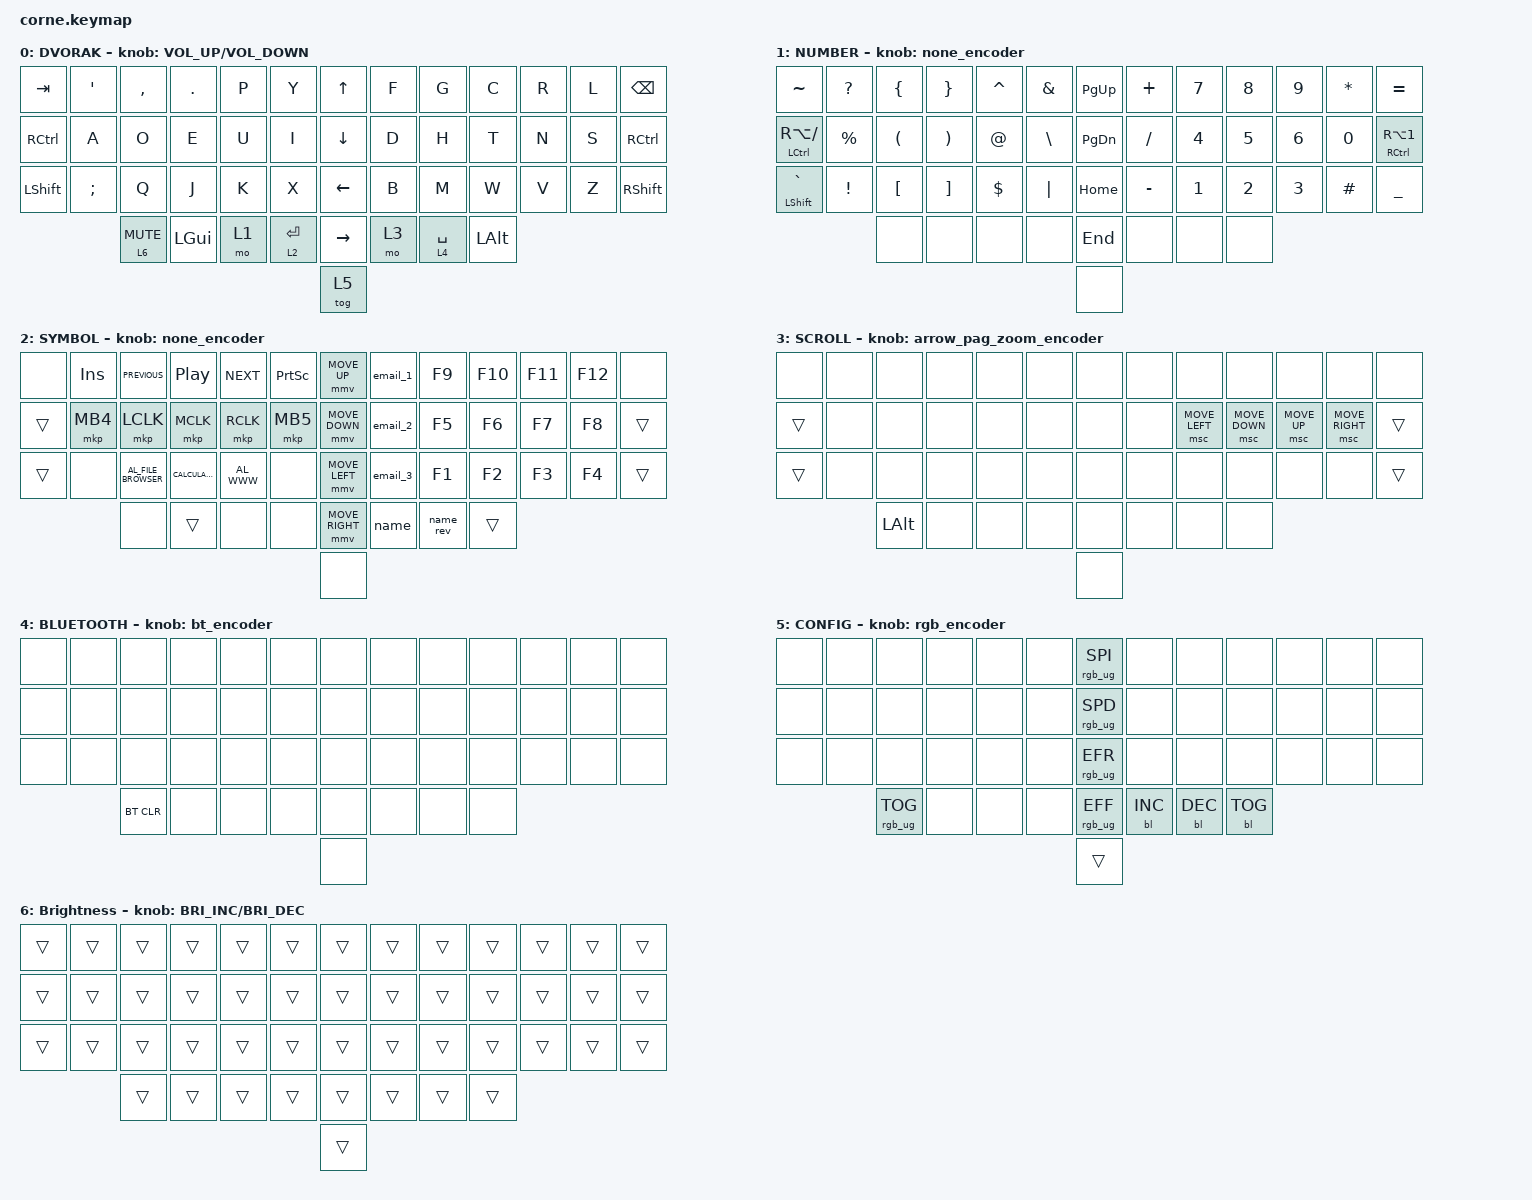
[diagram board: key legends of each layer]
#include <behaviors/mouse_keys.dtsi>
#include <behaviors.dtsi>
#include <dt-bindings/zmk/backlight.h>
#include <dt-bindings/zmk/bt.h>
#include <dt-bindings/zmk/keys.h>
#include <dt-bindings/zmk/mouse.h>
#include <dt-bindings/zmk/rgb.h>

#define ZMK_MOUSE_DEFAULT_MOVE_VAL 1200  // 600
#define ZMK_MOUSE_DEFAULT_SCRL_VAL 20    // 10
#define U_MS_U &mmv MOVE_UP
#define U_MS_D &mmv MOVE_DOWN
#define U_MS_L &mmv MOVE_LEFT
#define U_MS_R &mmv MOVE_RIGHT

/ {
    behaviors {
        td0: td0 {
            compatible = "zmk,behavior-tap-dance";
            label = "TD0";
            #binding-cells = <0>;
            bindings = <&kp LEFT_SHIFT>, <&kp CAPS>;
        };

        bt_encoder: bt_encoder {
            compatible = "zmk,behavior-sensor-rotate";
            label = "BT_ENCODER";
            #sensor-binding-cells = <0>;
            bindings = <&bt BT_NXT>, <&bt BT_PRV>;
        };

        none_encoder: none_encoder {
            compatible = "zmk,behavior-sensor-rotate";
            label = "NONE_ENCODER";
            #sensor-binding-cells = <0>;
            bindings = <&none>, <&none>;
        };

        arrow_pag_up: arrow_pag_up {
            compatible = "zmk,behavior-mod-morph";
            label = "ARROW_PAG_UP";
            bindings = <&kp UP_ARROW>, <&kp PAGE_UP>;

            #binding-cells = <0>;
            mods = <(MOD_LALT)>;
        };

        arrow_pag_down: arrow_pag_down {
            compatible = "zmk,behavior-mod-morph";
            label = "ARROW_PAG_DOWN";
            bindings = <&kp DOWN_ARROW>, <&kp PAGE_DOWN>;

            #binding-cells = <0>;
            mods = <(MOD_LALT)>;
        };

        arrow_pag_up_arrow_right: arrow_pag_up_arrow_right {
            compatible = "zmk,behavior-mod-morph";
            label = "ARROW_PAG_UP_ARROW_RIGHT";
            bindings = <&arrow_pag_up>, <&kp RIGHT_ARROW>;

            #binding-cells = <0>;
            mods = <(MOD_RSFT)>;
        };

        arrow_pag_down_arrow_left: arrow_pag_down_arrow_left {
            compatible = "zmk,behavior-mod-morph";
            label = "ARROW_PAG_DOWN_ARROW_LEFT";
            bindings = <&arrow_pag_down>, <&kp LEFT_ARROW>;

            #binding-cells = <0>;
            mods = <(MOD_RSFT)>;
        };

        arrow_pag_up_arrow_right_in: arrow_pag_up_arrow_right_in {
            compatible = "zmk,behavior-mod-morph";
            label = "ARROW_PAG_UP_ARROW_RIGHT_IN";
            bindings = <&arrow_pag_up_arrow_right>, <&kp RC(EQUAL)>;

            #binding-cells = <0>;
            mods = <(MOD_RCTL)>;
        };

        arrow_pag_down_arrow_left_out: arrow_pag_down_arrow_left_out {
            compatible = "zmk,behavior-mod-morph";
            label = "ARROW_PAG_DOWN_ARROW_LEFT_OUT";
            bindings = <&arrow_pag_down_arrow_left>, <&kp RC(MINUS)>;

            #binding-cells = <0>;
            mods = <(MOD_RCTL)>;
        };

        arrow_pag_zoom_encoder: arrow_pag_zoom_encoder {
            compatible = "zmk,behavior-sensor-rotate";
            label = "ARROW_PAG_ZOOM_ENCODER";
            #sensor-binding-cells = <0>;
            bindings =
                <&arrow_pag_up_arrow_right_in>,
                <&arrow_pag_down_arrow_left_out>;
        };

        mmv {
            acceleration-exponent = <1>;      // 1
            time-to-max-speed-ms = <900>;    // 40
            delay-ms = <0>;                   // 0
        };

        msc {
            acceleration-exponent = <1>;      // 0
            time-to-max-speed-ms = <400>;      // 500
            delay-ms = <0>;                   // 10
        };
    };

    rgb_encoder: rgb_encoder {
        compatible = "zmk,behavior-sensor-rotate";
        label = "RGB_ENCODER";
        #sensor-binding-cells = <0>;
        bindings = <&rgb_ug RGB_BRI>, <&rgb_ug RGB_BRD>;
    };

    scroll_encoder: scroll_encoder {
        compatible = "zmk,behavior-sensor-rotate";
        #sensor-binding-cells = <0>;
        bindings = <&msc SCRL_DOWN>, <&msc SCRL_UP>;

        tap-ms = <30>;
    };

    combos {
        compatible = "zmk,combos";

        Esc {
            bindings = <&kp ESCAPE>;
            key-positions = <22 23>;
        };

        Caps {
            bindings = <&kp CAPS>;
            key-positions = <35 36>;
            layers = <0>;
        };

        RAlt_1 {
            bindings = <&kp RIGHT_ALT>;
            key-positions = <34 35>;
        };

        RAlt_2 {
            bindings = <&kp RIGHT_ALT>;
            key-positions = <30 29>;
        };

        Del {
            bindings = <&kp DELETE>;
            key-positions = <10 9>;
            layers = <0>;
        };

        RGui {
            bindings = <&kp RIGHT_GUI>;
            key-positions = <21 22>;
        };

        Menu {
            bindings = <&kp C_MENU>;
            key-positions = <15 16>;
            layers = <0>;
        };

        Contex_menu {
            bindings = <&kp K_CONTEXT_MENU>;
            key-positions = <2 3>;
            layers = <0>;
        };

        LGui {
            bindings = <&kp LEFT_GUI>;
            key-positions = <17 16>;
        };

        Caps_word {
            bindings = <&caps_word>;
            key-positions = <28 29>;
            layers = <0>;
        };
    };

    macros {
        email_1: email_1 {
            compatible = "zmk,behavior-macro";
            #binding-cells = <0>;
            bindings = <&none &kp J &kp M &kp S &kp UNDER &kp A &kp L &kp E &kp J &kp A &kp N &kp D &kp R &kp O &kp AT &kp H &kp O &kp T &kp M &kp A &kp I &kp L &kp DOT &kp C &kp O &kp M>;
            label = "EMAIL_1";
        };

        email_2: email_2 {
            compatible = "zmk,behavior-macro";
            #binding-cells = <0>;
            bindings = <&none &kp E &kp L &kp M &kp I &kp N &kp E &kp C &kp R &kp A &kp F &kp T &kp I &kp A &kp N &kp O &kp N1 &kp N2 &kp AT &kp G &kp M &kp A &kp I &kp L &kp DOT &kp C &kp O &kp M>;
            label = "EMAIL_2";
        };

        email_3: email_3 {
            compatible = "zmk,behavior-macro";
            #binding-cells = <0>;
            bindings = <&none &kp N1 &kp N9 &kp N7 &kp O &kp N0 &kp N0 &kp N7 &kp N9 &kp N0 &kp AT &kp G &kp M &kp A &kp I &kp L &kp DOT &kp C &kp O &kp M>;
            label = "EMAIL_3";
        };

        name: name {
            compatible = "zmk,behavior-macro";
            #binding-cells = <0>;
            bindings = <&none &kp LS(J) &kp O &kp R &kp G &kp E &kp SPACE &kp LS(A) &kp L &kp E &kp J &kp A &kp N &kp D &kp R &kp O &kp SPACE &kp LS(M) &kp O &kp T &kp A &kp SPACE &kp LS(S) &kp O &kp S &kp A>;
            label = "NAME";
        };

        name_rev: name_rev {
            compatible = "zmk,behavior-macro";
            #binding-cells = <0>;
            bindings = <&none &kp LS(M) &kp O &kp T &kp A &kp SPACE &kp LS(S) &kp O &kp S &kp A &kp SPACE &kp LS(J) &kp O &kp R &kp G &kp E &kp SPACE &kp LS(A) &kp L &kp E &kp J &kp A &kp N &kp D &kp R &kp O>;
            label = "NAME_REV";
        };
    };

    keymap {
        compatible = "zmk,keymap";

        Default {
            display-name = "DVORAK";

            // --------------------------------------------------------------------------------
            // |  TAB |  Q  |  W  |  E  |  R  |  T  |                ↑    |  Y  |  U   |  I  |  O  |  P  | BKSP |      &kp UP_ARROW 
            // | SHIFT |  A  |  S  |  D  |  F  |  G  |               ↓    |  H  |  J   |  K  |  L  |  ;  |  '   | 
            // | CTRL |  Z  |  X  |  C  |  V  |  B  |                ←    |  N  |  M   |  ,  |  .  |  /  | ESC  |
            //                    | GUI | LWR | SPC |                →    | ENT | RSE  | ALT |
            //                                                      enter

            bindings = <
&kp TAB         &kp SQT        &kp COMMA     &kp PERIOD  &kp P  &kp Y          &kp UP_ARROW     &kp F  &kp G        &kp C         &kp R  &kp L  &kp BSPC
&kp RCTRL       &kp A          &kp O         &kp E       &kp U  &kp I          &kp DOWN_ARROW   &kp D  &kp H        &kp T         &kp N  &kp S  &kp RCTRL
&kp LEFT_SHIFT  &kp SEMICOLON  &kp Q         &kp J       &kp K  &kp X          &kp LEFT_ARROW   &kp B  &kp M        &kp W         &kp V  &kp Z  &kp RIGHT_SHIFT
                               &lt 6 C_MUTE  &kp LGUI    &mo 1  &lt 2 ENTER    &kp RIGHT_ARROW  &mo 3  &lt 4 SPACE  &kp LEFT_ALT
                                                                               &tog 5
            >;

            label = "DVORAK";
            sensor-bindings = <&inc_dec_kp C_VOLUME_UP C_VOLUME_DOWN>;
        };

        Numbers_and_symbols {
            display-name = "NUMBER";

            // -----------------------------------------------------------------------------------------
            // |  TAB |  1  |  2  |  3  |  4  |  5  |   |  6  |  7  |  8  |  9  |  0  | BKSP |
            // | BTCLR| BT1 | BT2 | BT3 | BT4 | BT5 |   | LFT | DWN |  UP | RGT |     |      |
            // | SHFT |     |     |     |     |     |   |     |     |     |     |     |      |
            //                    | GUI |     | SPC |   | ENT |     | ALT |

            bindings = <
&kp TILDE             &kp QUESTION  &kp LEFT_BRACE        &kp RIGHT_BRACE        &kp CARET    &kp AMPERSAND    &kp PAGE_UP    &kp PLUS   &kp N7        &kp N8        &kp N9        &kp ASTERISK  &kp EQUAL
&mt LCTRL RA(SLASH)   &kp PERCENT   &kp LEFT_PARENTHESIS  &kp RIGHT_PARENTHESIS  &kp AT_SIGN  &kp BACKSLASH    &kp PAGE_DOWN  &kp SLASH  &kp NUMBER_4  &kp N5        &kp NUMBER_6  &kp N0        &mt RCTRL RA(NUMBER_1)
&mt LEFT_SHIFT GRAVE  &kp EXCL      &kp LEFT_BRACKET      &kp RIGHT_BRACKET      &kp DOLLAR   &kp PIPE         &kp HOME       &kp MINUS  &kp NUMBER_1  &kp NUMBER_2  &kp NUMBER_3  &kp HASH      &kp UNDERSCORE
                                    &none                 &none                  &none        &none            &kp END        &none      &none         &none
                                                                                                               &none
            >;

            label = "NUMERIC";
            sensor-bindings = <&none_encoder>;
        };

        Functions {
            display-name = "SYMBOL";

            // -----------------------------------------------------------------------------------------
            // |  TAB |  !  |  @  |  #  |  $  |  %  |   |  ^  |  &  |  *  |  (  |  )  | BKSP |
            // | CTRL |     |     |     |     |     |   |  -  |  =  |  [  |  ]  |  \  |  `   |
            // | SHFT |     |     |     |     |     |   |  _  |  +  |  {  |  }  | "|" |  ~   |
            //                    | GUI |     | SPC |   | ENT |     | ALT |

            bindings = <
&none   &kp INSERT  &kp C_PREVIOUS         &kp C_PLAY_PAUSE  &kp C_NEXT    &kp PRINTSCREEN    &mmv MOVE_UP     &email_1  &kp F9     &kp F10  &kp F11  &kp F12  &none
&trans  &mkp MB4    &mkp LCLK              &mkp MCLK         &mkp RCLK     &mkp MB5           &mmv MOVE_DOWN   &email_2  &kp F5     &kp F6   &kp F7   &kp F8   &trans
&trans  &none       &kp C_AL_FILE_BROWSER  &kp K_CALCULATOR  &kp C_AL_WWW  &none              &mmv MOVE_LEFT   &email_3  &kp F1     &kp F2   &kp F3   &kp F4   &trans
                    &none                  &trans            &none         &none              &mmv MOVE_RIGHT  &name     &name_rev  &trans
                                                                                              &none
            >;

            label = "FN";
            sensor-bindings = <&none_encoder>;
        };

        Scroll {
            bindings = <
&none   &none  &none         &none  &none  &none    &none  &none  &none           &none           &none         &none            &none
&trans  &none  &none         &none  &none  &none    &none  &none  &msc MOVE_LEFT  &msc MOVE_DOWN  &msc MOVE_UP  &msc MOVE_RIGHT  &trans
&trans  &none  &none         &none  &none  &none    &none  &none  &none           &none           &none         &none            &trans
               &kp LEFT_ALT  &none  &none  &none    &none  &none  &none           &none
                                                    &none
            >;

            sensor-bindings = <&arrow_pag_zoom_encoder>;
            label = "SCROLL";
        };

        Bluetooth {
            bindings = <
&none  &none  &none       &none  &none  &none    &none  &none  &none  &none  &none  &none  &none
&none  &none  &none       &none  &none  &none    &none  &none  &none  &none  &none  &none  &none
&none  &none  &none       &none  &none  &none    &none  &none  &none  &none  &none  &none  &none
              &bt BT_CLR  &none  &none  &none    &none  &none  &none  &none
                                                 &none
            >;

            sensor-bindings = <&bt_encoder>;
            label = "BLUETOOTH";
        };

        Keyboard_configuration {
            bindings = <
&none  &none  &none            &none  &none  &none    &rgb_ug RGB_SPI  &none       &none       &none       &none  &none  &none
&none  &none  &none            &none  &none  &none    &rgb_ug RGB_SPD  &none       &none       &none       &none  &none  &none
&none  &none  &none            &none  &none  &none    &rgb_ug RGB_EFR  &none       &none       &none       &none  &none  &none
              &rgb_ug RGB_TOG  &none  &none  &none    &rgb_ug RGB_EFF  &bl BL_INC  &bl BL_DEC  &bl BL_TOG
                                                      &trans
            >;

            label = "CONFIG";
            sensor-bindings = <&rgb_encoder>;
        };

        Brightness {
            bindings = <
&trans  &trans  &trans  &trans  &trans  &trans    &trans  &trans  &trans  &trans  &trans  &trans  &trans
&trans  &trans  &trans  &trans  &trans  &trans    &trans  &trans  &trans  &trans  &trans  &trans  &trans
&trans  &trans  &trans  &trans  &trans  &trans    &trans  &trans  &trans  &trans  &trans  &trans  &trans
                &trans  &trans  &trans  &trans    &trans  &trans  &trans  &trans
                                                  &trans
            >;

            sensor-bindings = <&inc_dec_kp C_BRIGHTNESS_INC C_BRIGHTNESS_DEC>;
        };
    };

    conditional_layers { compatible = "zmk,conditional-layers"; };
};
